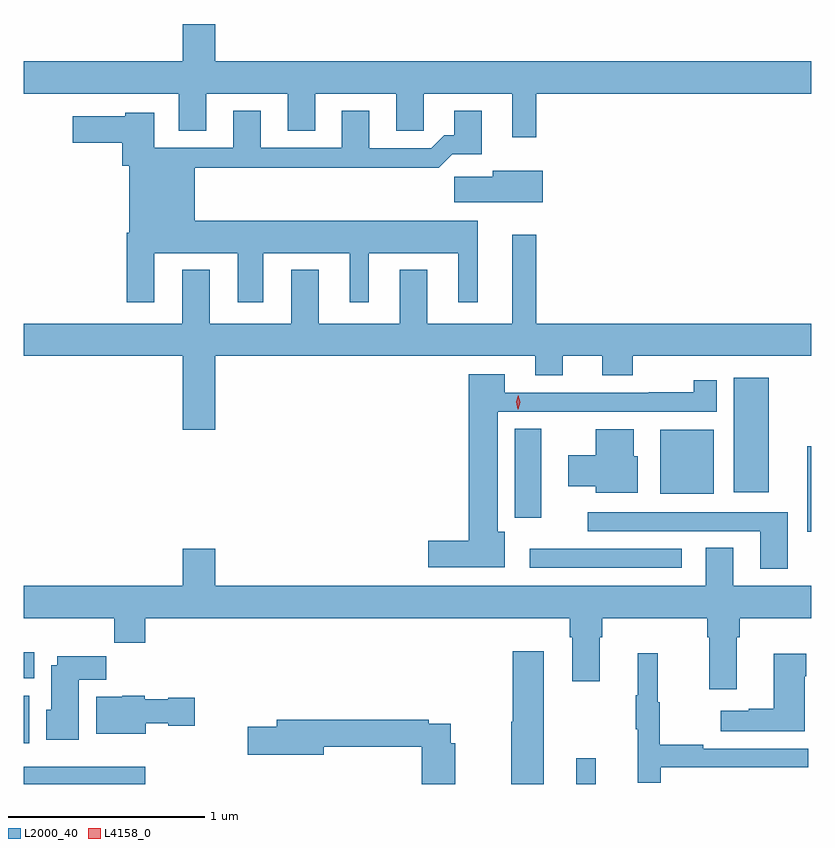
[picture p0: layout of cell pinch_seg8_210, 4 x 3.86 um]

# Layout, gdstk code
import gdstk
lib = gdstk.Library(unit=1e-6, precision=1e-09)
def R(c, l, rs):  # rectangles x0, y0, x1, y1
    for r in rs: c.add(gdstk.rectangle(r[:2], r[2:], *l))
def P(c, l, *ps):  # polygons
    for p in ps: c.add(gdstk.Polygon(p, *l))
L2000_40 = (2000, 40)
L4158_0 = (4158, 0)

pinch_seg8_210 = lib.new_cell('pinch_seg8_210')
R(pinch_seg8_210, L2000_40, [(679.683,1106.334,680.3,1106.422), (682.49,1106.334,682.587,1106.464), (679.683,1106.54,679.711,1106.782), (679.683,1106.87,679.738,1107.004), (682.254,1107.432,683.026,1107.528), (683.663,1107.614,683.683,1108.048), (682.178,1107.687,682.312,1108.139), (682.916,1107.809,683.188,1108.132), (683.288,1107.815,683.467,1108.396)])
P(pinch_seg8_210, L2000_40, [(680.656,1110.193),(680.492,1110.193),(680.492,1110.004),(679.683,1110.004),(679.683,1109.84),(680.471,1109.84),(680.471,1109.65),(680.611,1109.65),(680.611,1109.84),(681.023,1109.84),(681.023,1109.65),(681.163,1109.65),(681.163,1109.84),(681.575,1109.84),(681.575,1109.65),(681.714,1109.65),(681.714,1109.84),(682.163,1109.84),(682.163,1109.619),(682.285,1109.619),(682.285,1109.84),(683.683,1109.84),(683.683,1110.004),(680.656,1110.004)],
  [(680.347,1109.03),(680.771,1109.03),(680.771,1108.779),(680.899,1108.779),(680.899,1109.03),(681.338,1109.03),(681.338,1108.779),(681.436,1108.779),(681.436,1109.03),(681.89,1109.03),(681.89,1108.779),(681.988,1108.779),(681.988,1109.194),(680.551,1109.194),(680.551,1109.464),(681.535,1109.464),(681.535,1109.462),(681.791,1109.462),(681.86,1109.531),(682.009,1109.531),(682.009,1109.752),(681.869,1109.752),(681.869,1109.629),(681.82,1109.629),(681.753,1109.562),(681.439,1109.562),(681.439,1109.752),(681.299,1109.752),(681.299,1109.565),(680.887,1109.565),(680.887,1109.752),(680.747,1109.752),(680.747,1109.565),(680.347,1109.565),(680.347,1109.743),(680.199,1109.743),(680.199,1109.725),(679.932,1109.725),(679.932,1109.591),(680.183,1109.591),(680.183,1109.472),(680.219,1109.472),(680.219,1109.134),(680.207,1109.134),(680.207,1108.779),(680.347,1108.779)],
  [(682.318,1109.449),(682.064,1109.449),(682.064,1109.417),(681.87,1109.417),(681.87,1109.288),(682.318,1109.288)],
  [(680.656,1108.508),(682.28,1108.508),(682.28,1108.409),(682.42,1108.409),(682.42,1108.508),(682.622,1108.508),(682.622,1108.409),(682.775,1108.409),(682.775,1108.508),(683.683,1108.508),(683.683,1108.672),(682.285,1108.672),(682.285,1109.122),(682.163,1109.122),(682.163,1108.672),(681.733,1108.672),(681.733,1108.945),(681.593,1108.945),(681.593,1108.672),(681.181,1108.672),(681.181,1108.945),(681.041,1108.945),(681.041,1108.672),(680.629,1108.672),(680.629,1108.945),(680.489,1108.945),(680.489,1108.672),(679.683,1108.672),(679.683,1108.508),(680.492,1108.508),(680.492,1108.134),(680.656,1108.134)],
  [(682.126,1107.616),(682.09,1107.616),(682.09,1108.224),(683.203,1108.224),(683.203,1108.384),(683.086,1108.384),(683.086,1108.322),(682.858,1108.322),(682.858,1108.32),(682.126,1108.32),(682.126,1108.414),(681.944,1108.414),(681.944,1107.569),(681.738,1107.569),(681.738,1107.434),(682.126,1107.434)],
  [(682.801,1107.999),(682.78,1107.999),(682.78,1108.135),(682.589,1108.135),(682.589,1108.003),(682.449,1108.003),(682.449,1107.845),(682.589,1107.845),(682.589,1107.812),(682.801,1107.812)],
  [(683.563,1107.714),(682.548,1107.714),(682.548,1107.618),(683.423,1107.618),(683.423,1107.426),(683.563,1107.426)],
  [(683.305,1107.08),(683.318,1107.08),(683.318,1107.176),(683.683,1107.176),(683.683,1107.34),(683.287,1107.34),(683.287,1107.533),(683.147,1107.533),(683.147,1107.34),(680.656,1107.34),(680.656,1107.529),(680.492,1107.529),(680.492,1107.34),(679.683,1107.34),(679.683,1107.176),(680.143,1107.176),(680.143,1107.052),(680.3,1107.052),(680.3,1107.176),(682.457,1107.176),(682.457,1107.08),(682.469,1107.08),(682.469,1106.856),(682.609,1106.856),(682.609,1107.08),(682.622,1107.08),(682.622,1107.176),(683.153,1107.176),(683.153,1107.08),(683.165,1107.08),(683.165,1106.814),(683.305,1106.814)],
  [(682.324,1107.007),(682.166,1107.007),(682.166,1106.649),(682.16,1106.649),(682.16,1106.334),(682.324,1106.334)],
  [(682.919,1106.418),(683.668,1106.418),(683.668,1106.514),(683.135,1106.514),(683.135,1106.534),(682.912,1106.534),(682.912,1106.748),(682.904,1106.748),(682.904,1106.998),(682.802,1106.998),(682.802,1106.785),(682.791,1106.785),(682.791,1106.611),(682.802,1106.611),(682.802,1106.34),(682.919,1106.34)],
  [(683.65,1106.882),(683.658,1106.882),(683.658,1106.995),(683.492,1106.995),(683.492,1106.717),(683.366,1106.717),(683.366,1106.707),(683.223,1106.707),(683.223,1106.603),(683.65,1106.603)],
  [(679.963,1106.864),(680.102,1106.864),(680.102,1106.983),(679.853,1106.983),(679.853,1106.938),(679.823,1106.938),(679.823,1106.712),(679.799,1106.712),(679.799,1106.558),(679.963,1106.558)],
  [(680.302,1106.642),(680.418,1106.642),(680.418,1106.63),(680.551,1106.63),(680.551,1106.772),(680.418,1106.772),(680.418,1106.764),(680.298,1106.764),(680.298,1106.782),(680.184,1106.782),(680.184,1106.776),(680.051,1106.776),(680.051,1106.588),(680.302,1106.588)],
  [(681.874,1106.542),(681.852,1106.542),(681.852,1106.64),(681.74,1106.64),(681.74,1106.66),(680.969,1106.66),(680.969,1106.624),(680.82,1106.624),(680.82,1106.482),(681.208,1106.482),(681.208,1106.524),(681.704,1106.524),(681.704,1106.334),(681.874,1106.334)])
P(pinch_seg8_210, L4158_0, [(682.193,1108.237),(682.184,1108.274),(682.195,1108.309),(682.195,1108.309),(682.195,1108.309),(682.204,1108.273),(682.194,1108.237),(682.194,1108.237)])

lib.write_gds('pinch_seg8_210.gds')
